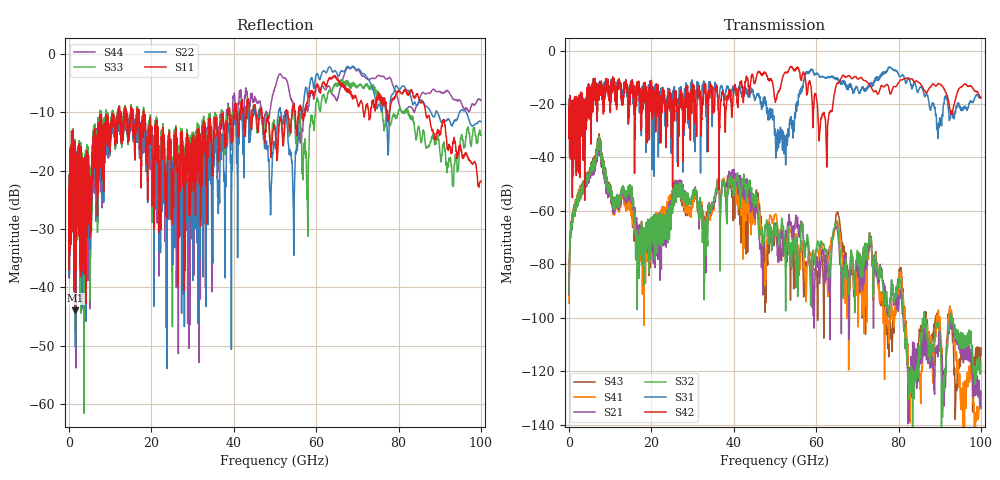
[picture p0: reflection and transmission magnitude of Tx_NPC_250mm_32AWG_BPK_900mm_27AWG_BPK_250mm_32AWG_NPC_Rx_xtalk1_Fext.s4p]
! Info: Touchstone file created by Circ.  Input file=Tx_NPC_250mm_32AWG_BPK_900mm_27AWG_BPK_250mm_32AWG_NPC_Rx.circ
# Hz S RI R 50
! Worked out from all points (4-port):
!   10000 points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, 10 MHz to 100 GHz, reference 50 ohm
!   strongest paths, dB at 10 MHz, 25.01 GHz, 50.01 GHz, 75.01 GHz, 100 GHz:
!     S42: -27.5, -19.4, -18.3, -16.3, -17.6
!     S31: -27.5, -25.9, -29.3, -10.3, -17.5
!     S32: -90.9, -56.4, -67.3, -84.8, -120.9
!     S21: -91.5, -55.0, -65.5, -86.8, -133.9
!     S41: -93.4, -53.0, -61.8, -85.8, -129.6
!     S43: -94.5, -54.4, -68.0, -85.4, -114.0
!   lowest |S11| = -44.0 dB at 1.55 GHz (marker M1), VSWR 1.01, Z = 49.9 + j0.626 ohm
!   |S11| at or under -10 dB: start of sweep to 11.83 GHz; 18.1 GHz to 38.56 GHz (20.46 GHz wide, 72.2 % of centre); 86.59 GHz to end of sweep (the widest 3 of 42)
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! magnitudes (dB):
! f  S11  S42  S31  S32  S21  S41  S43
! 10 MHz  -23.4  -27.5  -27.5  -90.9  -91.5  -93.4  -94.5
! 1.55 GHz  -44.0  -30.3  -30.6  -57.3  -57.4  -56.9  -56.6
! 7.27 GHz  -20.8  -16.9  -17.1  -32.4  -34.3  -33.1  -31.5
! 16.62 GHz  -9.5  -12.2  -12.6  -84.9  -73.7  -77.8  -75.5
! 40.85 GHz  -11.0  -18.8  -15.6  -45.8  -47.1  -51.3  -51.4
! 46.79 GHz  -9.7  -9.2  -21.2  -66.9  -74.9  -77.5  -69.0
! 100 GHz  -21.8  -17.6  -17.5  -120.9  -133.9  -129.6  -114.0
